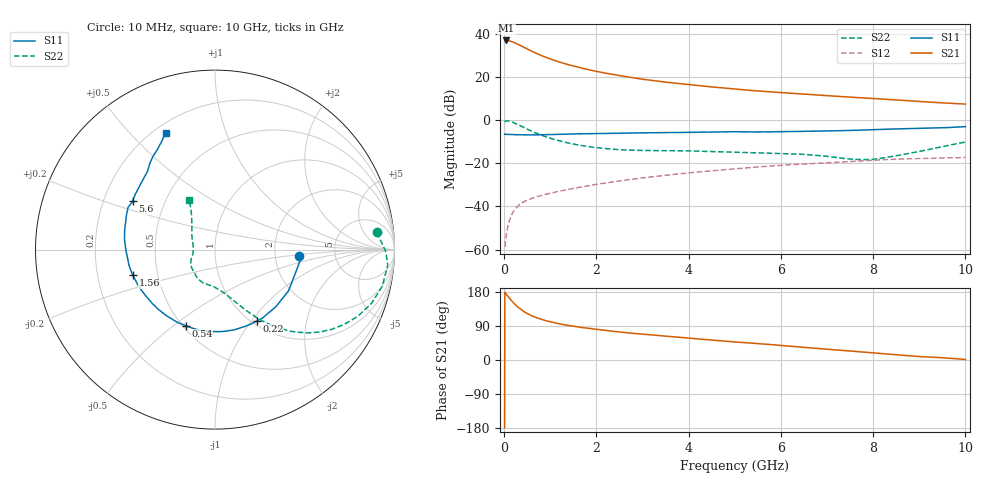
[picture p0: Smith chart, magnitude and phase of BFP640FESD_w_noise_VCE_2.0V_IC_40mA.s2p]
! Infineon Technologies  Discrete & RF Semiconductors
! BFP640FESD
! VCE =  2.0 V,  IC =  40 mA
! Common Emitter S-Parameters:  Jan 2016
# GHz  S  MA  R  50
!  f  S11  S21  S12  S22
! GHz  MAG  ANG  MAG  ANG  MAG  ANG  MAG  ANG
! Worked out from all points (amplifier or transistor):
!   233 points, 10 MHz to 10 GHz, reference 50 ohm
!   highest |S21| = 36.9 dB at 50 MHz (marker M1)
!   |S21| within 3 dB of that: start of sweep to 412.1 MHz
!   unconditionally stable (mu >= 1): 2.52 GHz to end of sweep
!   at 200 MHz: K = 0.20, MSG = 39.3 dB, |S12| = -42.4 dB
!   at 1.74 GHz: K = 0.91, MSG = 27.3 dB, |S12| = -30.7 dB
!   at 10 GHz: K = 1.07, MAG = 10.8 dB, |S12| = -17.3 dB
!   lowest NFmin = 1.24 dB at 450 MHz
!   S11 on the Smith chart (normalised r, x): 10 MHz: 2.74, -0.25; 220 MHz: 1.05, -1.06; 540 MHz: 0.52, -0.55; 1.56 GHz: 0.36, -0.13; 5.6 GHz: 0.33, +0.25; 10 GHz: 0.24, +0.64
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0.01  0.4682 -4.3  67.77 -179.0  0.0012 95.7  0.9066 6.1
0.02  0.4791 -6.8  70.02 177.5  0.0012 98.5  0.951 -0.6
0.05  0.4678 -15.3  70.22 173.0  0.0023 87.3  0.9664 -5.1
0.1  0.4696 -29.4  69.65 165.4  0.0041 79.9  0.9542 -12.4
0.15  0.465 -43.2  67.19 157.8  0.006 75.7  0.9216 -19.0
0.22  0.4609 -59.7  62.73 148.6  0.0082 70.3  0.8607 -26.8
0.28  0.4584 -72.5  58.54 141.5  0.0097 66.6  0.8051 -32.5
0.34  0.4582 -83.6  54.43 135.5  0.0112 63.7  0.7494 -37.6
0.45  0.4574 -100.3  47.35 126.2  0.0132 60.2  0.6557 -44.7
0.54  0.454 -111.1  42.4 120.4  0.0146 58.6  0.5905 -49.0
0.7  0.4569 -126.2  35.19 111.7  0.0167 57.1  0.4964 -55.2
0.9  0.4605 -139.0  28.7 103.9  0.0191 57.1  0.4134 -60.5
1.2  0.4696 -152.5  22.19 95.4  0.0226 58.2  0.3304 -67.1
1.56  0.4794 -162.7  17.29 88.0  0.0268 59.7  0.271 -73.9
1.68  0.4823 -165.6  16.08 85.8  0.0283 60.0  0.2572 -76.1
2.4  0.4943 -178.2  11.22 75.2  0.0377 61.0  0.2099 -90.2
3.4  0.5129 169.0  7.842 64.1  0.0513 59.7  0.1975 -107.7
5.1  0.5372 153.3  5.138 46.8  0.0756 53.9  0.1795 -127.2
5.6  0.533 149.4  4.653 42.4  0.0838 51.9  0.1731 -130.8
6.8  0.5571 136.8  3.821 30.4  0.1 44.6  0.1511 -152.8
8.4  0.6209 124.1  2.981 14.6  0.1234 35.0  0.1433 153.1
10  0.7064 112.9  2.357 1.4  0.1359 24.3  0.3106 117.4
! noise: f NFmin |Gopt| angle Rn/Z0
0.45  1.24  0.27  -171  0.08
2.4  1.28  0.28  -151  0.11
5.5  1.51  0.34  -146  0.12
10  2.04  0.48  -101  0.38
